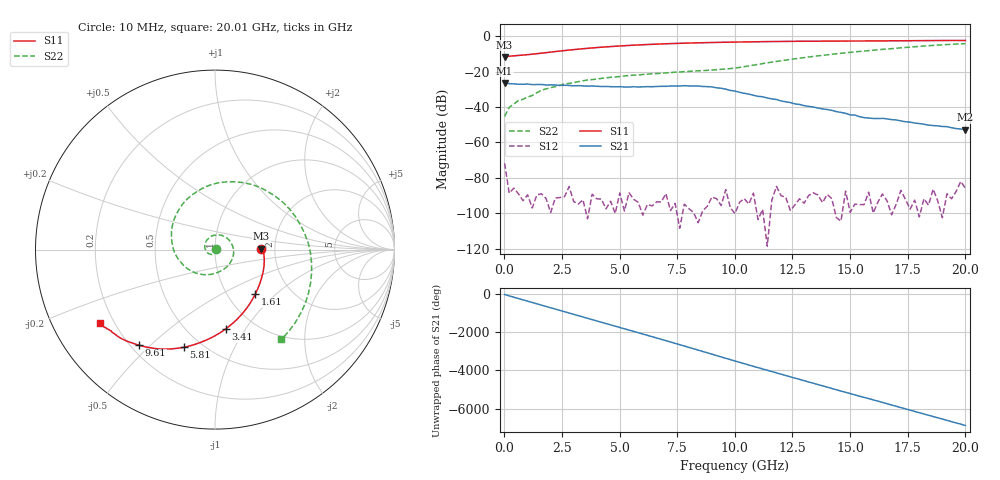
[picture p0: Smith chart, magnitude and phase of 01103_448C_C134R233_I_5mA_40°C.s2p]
!;Filter: kein Filter
!auto
!3/21/2019 9:27:39 AM
!3/21/2019 9:27:53 AM
!SP-Measurements Prober G4
!SP-Measurements Prober G4
!01103_448C
!134
!233
!12
!40
!-20
!0.00499992
!1.96
!0.64375220
!0.64375220
# Hz S  RI  R 50
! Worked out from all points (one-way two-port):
!   101 points, 10 MHz to 20.01 GHz, reference 50 ohm
!   highest |S21| = -26.38 dB at 10 MHz (marker M1); lowest = -52.8 dB at 20.01 GHz (marker M2)
!   lowest |S11| = -11.7 dB at 10 MHz (marker M3), VSWR 1.70, Z = 84.9 + j0.81 ohm
!   |S11| at or under -10 dB: start of sweep to 1.275 GHz
!   |S22| runs from -45.3 to -4.1 dB; largest |S21 - S12| = 0.048
!   S11 on the Smith chart (normalised r, x): 10 MHz: 1.70, +0.02; 1.61 GHz: 1.34, -0.75; 3.41 GHz: 0.74, -0.82; 5.81 GHz: 0.40, -0.65; 9.61 GHz: 0.23, -0.46; 20.01 GHz: 0.15, -0.29
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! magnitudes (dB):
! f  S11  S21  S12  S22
! 10 MHz  -11.7  -26.4  -71.7  -45.3
! 210 MHz  -11.2  -26.7  -88.6  -40.1
! 610 MHz  -10.8  -27.1  -89.0  -36.3
! 1.21 GHz  -10.1  -27.3  -97.0  -33.5
! 1.61 GHz  -9.5  -27.2  -89.0  -30.5
! 2.61 GHz  -8.0  -27.6  -90.6  -26.9
! 3.41 GHz  -7.0  -28.0  -92.4  -25.1
! 4.61 GHz  -5.8  -28.5  -93.2  -23.2
! 5.81 GHz  -4.9  -28.6  -93.8  -21.9
! 6.81 GHz  -4.3  -28.3  -93.6  -20.9
! 8.41 GHz  -3.7  -28.0  -105.3  -19.5
! 9.01 GHz  -3.5  -28.6  -90.8  -19.1
! 9.61 GHz  -3.3  -29.9  -86.6  -18.4
! 10.01 GHz  -3.3  -31.0  -100.1  -17.9
! 12.61 GHz  -2.8  -38.2  -95.3  -12.7
! 13.41 GHz  -2.8  -40.0  -88.5  -11.4
! 14.81 GHz  -2.7  -43.5  -87.5  -9.3
! 15.01 GHz  -2.7  -44.4  -99.5  -9.0
! 15.21 GHz  -2.6  -44.5  -94.8  -8.8
! 15.61 GHz  -2.6  -45.9  -95.1  -8.3
! 16.81 GHz  -2.5  -47.1  -100.8  -7.0
! 20.01 GHz  -2.4  -52.8  -85.9  -4.1
